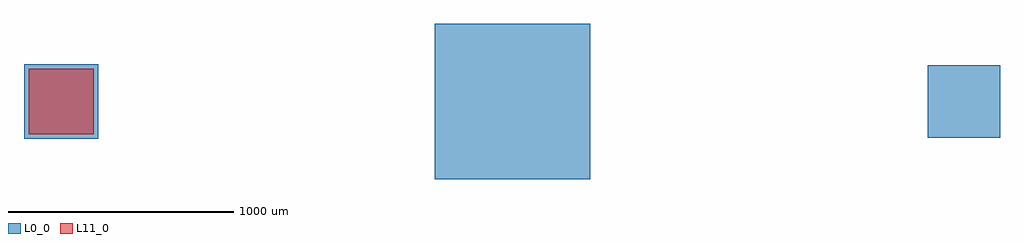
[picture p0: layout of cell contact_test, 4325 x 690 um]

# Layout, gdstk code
import gdstk
lib = gdstk.Library(unit=1e-6, precision=1e-09)
def R(c, l, rs):  # rectangles x0, y0, x1, y1
    for r in rs: c.add(gdstk.rectangle(r[:2], r[2:], *l))
L0_0 = (0, 0)
L11_0 = (11, 0)

contact_test = lib.new_cell('contact_test')
R(contact_test, L0_0, [(2655,655,3345,1345), (2705,705,3295,1295), (2735,735,2905,905), (3095,735,3265,905), (835,835,1165,1165), (4840,840,5160,1160), (4860,860,5140,1140), (4885,885,5115,1115), (4895,895,5105,1105), (4900,900,5100,1100), (915,915,1085,1085), (4925,925,5075,1075), (2735,1095,2905,1265), (3095,1095,3265,1265)])
R(contact_test, L11_0, [(855,855,1145,1145)])

lib.write_gds('contact_test.gds')
